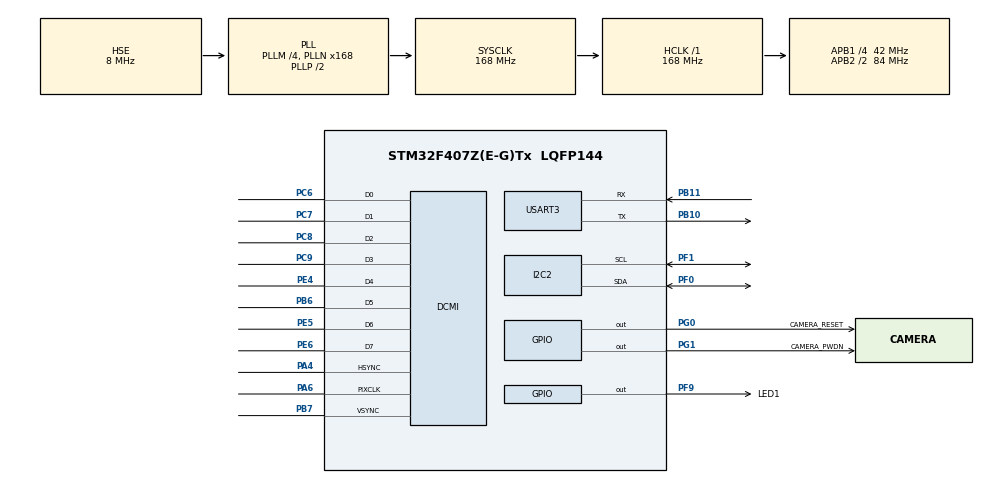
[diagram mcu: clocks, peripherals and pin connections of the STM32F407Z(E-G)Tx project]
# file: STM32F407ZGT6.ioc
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DCMI.JPEGMode=DCMI_JPEG_ENABLE
DCMI.PCKPolarity=DCMI_PCKPOLARITY_RISING
Dma.DCMI.0.Direction=DMA_PERIPH_TO_MEMORY
Dma.DCMI.0.FIFOMode=DMA_FIFOMODE_ENABLE
Dma.DCMI.0.FIFOThreshold=DMA_FIFO_THRESHOLD_FULL
Dma.DCMI.0.Instance=DMA2_Stream1
Dma.DCMI.0.MemBurst=DMA_MBURST_SINGLE
Dma.DCMI.0.MemDataAlignment=DMA_MDATAALIGN_BYTE
Dma.DCMI.0.MemInc=DMA_MINC_ENABLE
Dma.DCMI.0.Mode=DMA_CIRCULAR
Dma.DCMI.0.PeriphBurst=DMA_PBURST_SINGLE
Dma.DCMI.0.PeriphDataAlignment=DMA_PDATAALIGN_WORD
Dma.DCMI.0.PeriphInc=DMA_PINC_DISABLE
Dma.DCMI.0.Priority=DMA_PRIORITY_VERY_HIGH
Dma.Request0=DCMI
Dma.Request1=USART3_TX
Dma.USART3_TX.1.Direction=DMA_MEMORY_TO_PERIPH
Dma.USART3_TX.1.FIFOMode=DMA_FIFOMODE_ENABLE
Dma.USART3_TX.1.FIFOThreshold=DMA_FIFO_THRESHOLD_FULL
Dma.USART3_TX.1.Instance=DMA1_Stream3
Dma.USART3_TX.1.MemBurst=DMA_MBURST_SINGLE
Dma.USART3_TX.1.MemDataAlignment=DMA_MDATAALIGN_BYTE
Dma.USART3_TX.1.MemInc=DMA_MINC_ENABLE
Dma.USART3_TX.1.Mode=DMA_NORMAL
Dma.USART3_TX.1.PeriphBurst=DMA_PBURST_SINGLE
Dma.USART3_TX.1.PeriphDataAlignment=DMA_PDATAALIGN_BYTE
Dma.USART3_TX.1.PeriphInc=DMA_PINC_DISABLE
Dma.USART3_TX.1.Priority=DMA_PRIORITY_VERY_HIGH
Mcu.Family=STM32F4
Mcu.Name=STM32F407Z(E-G)Tx
Mcu.Package=LQFP144
NVIC.DMA1_Stream3_IRQn=true\:0\:0\:false\:false\:true\:false\:true
NVIC.DMA2_Stream1_IRQn=true\:0\:0\:false\:false\:true\:false\:true
NVIC.PriorityGroup=NVIC_PRIORITYGROUP_4
PA13.Mode=Serial_Wire
PA13.Signal=SYS_JTMS-SWDIO
PA14.Mode=Serial_Wire
PA14.Signal=SYS_JTCK-SWCLK
PA4.Mode=Slave_8_bits_External_Synchro
PA4.Signal=DCMI_HSYNC
PA6.Mode=Slave_8_bits_External_Synchro
PA6.Signal=DCMI_PIXCLK
PB10.Mode=Asynchronous
PB10.Signal=USART3_TX
PB11.Mode=Asynchronous
PB11.Signal=USART3_RX
PB6.Mode=Slave_8_bits_External_Synchro
PB6.Signal=DCMI_D5
PB7.Mode=Slave_8_bits_External_Synchro
PB7.Signal=DCMI_VSYNC
PC14-OSC32_IN.Mode=LSE-External-Oscillator
PC14-OSC32_IN.Signal=RCC_OSC32_IN
PC15-OSC32_OUT.Mode=LSE-External-Oscillator
PC15-OSC32_OUT.Signal=RCC_OSC32_OUT
PC6.Mode=Slave_8_bits_External_Synchro
PC6.Signal=DCMI_D0
PC7.Mode=Slave_8_bits_External_Synchro
PC7.Signal=DCMI_D1
PC8.Mode=Slave_8_bits_External_Synchro
PC8.Signal=DCMI_D2
PC9.Mode=Slave_8_bits_External_Synchro
PC9.Signal=DCMI_D3
PE4.Mode=Slave_8_bits_External_Synchro
PE4.Signal=DCMI_D4
PE5.Mode=Slave_8_bits_External_Synchro
PE5.Signal=DCMI_D6
PE6.Mode=Slave_8_bits_External_Synchro
PE6.Signal=DCMI_D7
PF0.GPIO_Pu=GPIO_PULLUP
PF0.Mode=I2C
PF0.Signal=I2C2_SDA
PF1.GPIO_Pu=GPIO_PULLUP
PF1.Mode=I2C
PF1.Signal=I2C2_SCL
PF9.GPIO_Label=LED1
PF9.Signal=GPIO_Output
PG0.GPIO_Label=CAMERA_RESET
PG0.Signal=GPIO_Output
PG1.GPIO_Label=CAMERA_PWDN
PG1.Signal=GPIO_Output
PH0-OSC_IN.Mode=HSE-External-Oscillator
PH0-OSC_IN.Signal=RCC_OSC_IN
PH1-OSC_OUT.Mode=HSE-External-Oscillator
PH1-OSC_OUT.Signal=RCC_OSC_OUT
ProjectManager.HeapSize=0x1000
ProjectManager.StackSize=0x1000
ProjectManager.TargetToolchain=MDK-ARM V5.32
RCC.48MHZClocksFreq_Value=112000000
RCC.AHBFreq_Value=168000000
RCC.APB1CLKDivider=RCC_HCLK_DIV4
RCC.APB1Freq_Value=42000000
RCC.APB1TimFreq_Value=84000000
RCC.APB2CLKDivider=RCC_HCLK_DIV2
RCC.APB2Freq_Value=84000000
RCC.APB2TimFreq_Value=168000000
RCC.CortexFreq_Value=168000000
RCC.HCLKFreq_Value=168000000
RCC.HSE_VALUE=8000000
RCC.HSI_VALUE=16000000
RCC.PLLM=4
RCC.PLLN=168
RCC.PLLQ=3
RCC.PLLSourceVirtual=RCC_PLLSOURCE_HSE
RCC.RCC_RTC_Clock_Source=RCC_RTCCLKSOURCE_LSE
RCC.RCC_RTC_Clock_SourceVirtual=RCC_RTCCLKSOURCE_LSE
RCC.SYSCLKFreq_VALUE=168000000
RCC.SYSCLKSource=RCC_SYSCLKSOURCE_PLLCLK
RCC.VCOOutputFreq_Value=336000000
TIM7.Period=10000
TIM7.Prescaler=83
USART3.VirtualMode=VM_ASYNC
VP_TIM7_VS_ClockSourceINT.Mode=Enable_Timer
board=custom

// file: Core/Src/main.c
/* USER CODE BEGIN Header */
/**
 ******************************************************************************
 * @file           : main.c
 * @brief          : Main program body
 ******************************************************************************
 * @attention
 *
 * Copyright (c) 2021 STMicroelectronics.
 * All rights reserved.
 *
 * This software is licensed under terms that can be found in the LICENSE file
 * in the root directory of this software component.
 * If no LICENSE file comes with this software, it is provided AS-IS.
 *
 ******************************************************************************
 */
/* USER CODE END Header */
#include "main.h"
#include "dcmi.h"
#include "dma.h"
#include "i2c.h"
#include "tim.h"
#include "usart.h"
#include "gpio.h"

/* USER CODE BEGIN Includes */
#include "ov2640.h"
#include <stdio.h>
#include <stdarg.h>
#include <string.h>

/* USER CODE END Includes */

/* USER CODE BEGIN PD */
#define DEBUG

/* USER CODE END PD */

/* USER CODE BEGIN PV */
enum imageResolution imgRes = RES_320X240;
uint8_t frameBuffer[RES_320X240] = {0};

uint8_t mutex = 0;
uint16_t bufferPointer = 0;
uint8_t headerFound = 0;

uint8_t Tbuffer1[2] = {0xff, 0x01};
uint8_t Tbuffer2[2] = {0x12, 0x80};
uint8_t Tbuffer3[1] = {0x1c};
uint8_t RBuffer[1] = {0};

/* USER CODE END PV */

void SystemClock_Config(void);

int main(void)
{

  /* MCU Configuration--------------------------------------------------------*/

  /* Reset of all peripherals, Initializes the Flash interface and the Systick. */
  HAL_Init();

  /* Configure the system clock */
  SystemClock_Config();

  /* Initialize all configured peripherals */
  MX_GPIO_Init();
  MX_DMA_Init();
  MX_DCMI_Init();
  MX_USART3_UART_Init();
  MX_I2C2_Init();
  MX_TIM7_Init();
  /* USER CODE BEGIN 2 */

//  // 等待�?�?
//  uint8_t a[1];
//  printf("Input a.\r\n");
//  scanf("%c", a);
//  if (a[0] == 'a')
//    printf("Hello World!\r\n");

	HAL_GPIO_WritePin(CAMERA_PWDN_GPIO_Port, CAMERA_RESET_Pin, GPIO_PIN_RESET);
	HAL_Delay(10);
	HAL_GPIO_WritePin(CAMERA_RESET_GPIO_Port, CAMERA_RESET_Pin, GPIO_PIN_RESET);
	HAL_Delay(10);
	HAL_GPIO_WritePin(CAMERA_RESET_GPIO_Port, CAMERA_RESET_Pin, GPIO_PIN_SET);
	HAL_Delay(10);

  HAL_I2C_Master_Transmit(&hi2c2, (uint16_t)0x60, Tbuffer1, 2, 100);
	HAL_Delay(100);

  HAL_I2C_Master_Transmit(&hi2c2, (uint16_t)0x60, Tbuffer2, 2, 100);
  HAL_Delay(100);

	HAL_I2C_Master_Transmit(&hi2c2, (uint16_t)0x60, Tbuffer3, 1, 100);
	HAL_I2C_Master_Receive(&hi2c2, (uint16_t)0x60, RBuffer, 1, 100);
  HAL_I2C_Mem_Read(&hi2c2, 0x60, 0x0B, 1, RBuffer, 1, 100);
  printf("%x\r\n", RBuffer[0]);

  // 等待下一环节
	uint8_t a[1];
  printf("Input b.\r\n");
  scanf("%c", a);
  if (a[0] == 'b')
    printf("Hello World!\r\n");

  OV2640_Init(&hi2c2, &hdcmi);
  HAL_Delay(10);
  OV2640_ResolutionOptions(imgRes);
  HAL_Delay(10);
  printf("Flag1\r\n");
  /* USER CODE END 2 */

  /* Infinite loop */
  while (1)
  {

  }
}

void SystemClock_Config(void)
{
  RCC_OscInitTypeDef RCC_OscInitStruct = {0};
  RCC_ClkInitTypeDef RCC_ClkInitStruct = {0};

  /** Configure the main internal regulator output voltage
  */
  __HAL_RCC_PWR_CLK_ENABLE();
  __HAL_PWR_VOLTAGESCALING_CONFIG(PWR_REGULATOR_VOLTAGE_SCALE1);
  /** Initializes the RCC Oscillators according to the specified parameters
  * in the RCC_OscInitTypeDef structure.
  */
  RCC_OscInitStruct.OscillatorType = RCC_OSCILLATORTYPE_HSE;
  RCC_OscInitStruct.HSEState = RCC_HSE_ON;
  RCC_OscInitStruct.PLL.PLLState = RCC_PLL_ON;
  RCC_OscInitStruct.PLL.PLLSource = RCC_PLLSOURCE_HSE;
  RCC_OscInitStruct.PLL.PLLM = 4;
  RCC_OscInitStruct.PLL.PLLN = 168;
  RCC_OscInitStruct.PLL.PLLP = RCC_PLLP_DIV2;
  RCC_OscInitStruct.PLL.PLLQ = 3;
  if (HAL_RCC_OscConfig(&RCC_OscInitStruct) != HAL_OK)
  {
    Error_Handler();
  }
  /** Initializes the CPU, AHB and APB buses clocks
  */
  RCC_ClkInitStruct.ClockType = RCC_CLOCKTYPE_HCLK|RCC_CLOCKTYPE_SYSCLK
                              |RCC_CLOCKTYPE_PCLK1|RCC_CLOCKTYPE_PCLK2;
  RCC_ClkInitStruct.SYSCLKSource = RCC_SYSCLKSOURCE_PLLCLK;
  RCC_ClkInitStruct.AHBCLKDivider = RCC_SYSCLK_DIV1;
  RCC_ClkInitStruct.APB1CLKDivider = RCC_HCLK_DIV4;
  RCC_ClkInitStruct.APB2CLKDivider = RCC_HCLK_DIV2;

  if (HAL_RCC_ClockConfig(&RCC_ClkInitStruct, FLASH_LATENCY_5) != HAL_OK)
  {
    Error_Handler();
  }
}

/* USER CODE BEGIN 4 */
int fputc(int ch, FILE *f)
{
  HAL_UART_Transmit(&huart3, (uint8_t *)&ch, 1, 0xffff);
  return ch;
}

int fgetc(FILE *f)
{
  uint8_t ch = 0;
  HAL_UART_Receive(&huart3, &ch, 1, 0xffff);
  return ch;
}

void HAL_Delay_US(uint32_t Delay_us)
{
  __HAL_TIM_SetCounter(&htim7, 0);
  __HAL_TIM_ENABLE(&htim7);
  while (__HAL_TIM_GetCounter(&htim7) < Delay_us)
    ;
  __HAL_TIM_DISABLE(&htim7);
}

/* USER CODE END 4 */

void Error_Handler(void)
{
  __disable_irq();
  while (1)
  {
  }
}
